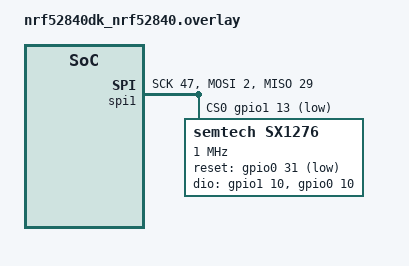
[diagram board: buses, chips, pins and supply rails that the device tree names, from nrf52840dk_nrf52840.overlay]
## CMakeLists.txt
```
cmake_minimum_required(VERSION 3.8.2)

#Board selection inside zephyr
set(BOARD nrf52840dk_nrf52840)
#set(BOARD nrf5340pdk_nrf5340_cpunet)
#set(BOARD nrf5340pdk_nrf5340_cpuapp)
#set(BOARD nrf52840dongle_nrf52840)
#set(BOARD nrf52840dk_nrf52811)
#Board selection outside zephyr
#set(BOARD_ROOT ./board)

#Toolchain selection
set(TOOLCHAIN C:/gnuarmemb)

#Zephyr selection
#set(ZEPHYR_BASE L:/Github/ncs/zephyr)
set(ZEPHYR_BASE L:/Github/ncs-workspace-1.6.1/zephyr)

find_package(Zephyr REQUIRED HINTS $ENV{ZEPHYR_BASE})

project(NONE)

#Include Simple Zephyr Library
add_subdirectory_ifdef(CONFIG_SZL_ENABLE szl)

# Include all files in folder src
FILE(GLOB app_sources_c src/*.c)
FILE(GLOB app_sources_cpp src/*.cpp)

target_sources(app PRIVATE
	${app_sources_c} ${app_sources_cpp})

target_include_directories(app PRIVATE include)

FILE(GLOB dlms_sources_cpp dlms/src/*.cpp)

target_sources(app PRIVATE ${app_sources_cpp} ${dlms_sources_cpp})

target_include_directories(app PRIVATE dlms/..)
```

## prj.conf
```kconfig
#Stdout config
CONFIG_SERIAL=y
CONFIG_STDOUT_CONSOLE=y

#Simple Zephyr Library
CONFIG_SZL_ENABLE=y
CONFIG_SZL_UART_ENABLE=y
CONFIG_SZL_UART_RX_RING_BUF_LEN=1024
CONFIG_SZL_LORA_ENABLE=y
CONFIG_SZL_USB_CDC_ACM_ENABLE=n
CONFIG_UART_CONSOLE=y
CONFIG_SZL_LEB128_ENABLE=y

#For nRF52 Dongle if flashed over USB
CONFIG_BOARD_HAS_NRF5_BOOTLOADER=y
#For nRF52 Dongle if flashed over SWD
#CONFIG_BOARD_HAS_NRF5_BOOTLOADER=n

#For DLMS
CONFIG_HEAP_MEM_POOL_SIZE=8192
CONFIG_MAIN_STACK_SIZE=32768
CONFIG_SYSTEM_WORKQUEUE_STACK_SIZE=4096
CONFIG_PRIVILEGED_STACK_SIZE=8192
CONFIG_NEWLIB_LIBC=y
#CONFIG_NEWLIB_LIBC_MIN_REQUIRED_HEAP_SIZE=8192
CONFIG_CPLUSPLUS=y
CONFIG_LIB_CPLUSPLUS=y
CONFIG_RTTI=y

#For Debug
CONFIG_DEBUG=y
CONFIG_DEBUG_OPTIMIZATIONS=y
CONFIG_TEST=y
CONFIG_ASSERT=y
#CONFIG_THREAD_ANALYZER=y
#CONFIG_THREAD_NAME=y

#FOR GPIO
CONFIG_GPIO=y

CONFIG_PRINTK_SYNC=n
```

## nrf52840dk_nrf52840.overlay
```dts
#include <dt-bindings/gpio/gpio.h>


&spi1 {
     status = "okay";
          sck-pin = <47>; /* 1.15 */
       mosi-pin = <2>;
       miso-pin = <29>;
       cs-gpios = <&gpio1 13 GPIO_ACTIVE_LOW>; /* 1.13 */
  
        lora: sx1276@0 {
         compatible = "semtech,sx1276";
         reg = <0>;
         label = "sx1276";
         reset-gpios = <&gpio0 31 GPIO_ACTIVE_LOW>;
         dio-gpios = <&gpio1 10 (GPIO_PULL_DOWN | GPIO_ACTIVE_HIGH)>,<&gpio0 10 (GPIO_PULL_DOWN | GPIO_ACTIVE_HIGH)>;
         spi-max-frequency = <1000000>;
         power-amplifier-output = "pa-boost";
     };  
  };
  
  / {
     aliases {
        lora0 = &lora;
   };
  };
```

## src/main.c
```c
#include <zephyr.h>

#include <szl_uart.h>
#ifdef SZL_USB_CDC_ACM_ENABLE
#include <szl_usb_cdc_acm.h>
#endif
#include <szl_lora.h>
#include <szl_leb128.h>

#include <stdio.h>
#include <string.h>
#include <sys/util.h>

#include <App_LGe450_Push_Parser.h>


#define UART_DEV_NAME "UART_1"
#define RX_BUF_LEN 1024
static struct szl_uart_context ctx;
static uint8_t rx_buf[RX_BUF_LEN];
struct k_work_delayable parse_push_work;
void *parser;

const struct Smart_Meter_data_t Smart_Meter_data_init;
struct Smart_Meter_data_t Smart_Meter_data;
uint8_t new_data_bitmask[1]; 
uint8_t buffer[255];
uint8_t pos;

/* size of stack area used by each thread */
#define STACKSIZE_UART_RX 1024

/* scheduling priority used by each thread */
#define PRIORITY_UART_RX 7


//Parser DOne Semaphore
struct k_sem parser_done_sem;
K_SEM_DEFINE(parser_done_sem, 0, 1);




/* -------------------------- DLMS Parser Area --------------------------  */

/**@brief Function to parse a push Message. Called by the delayable work item.
 */


void parse_push(struct k_work *work)
{
  static size_t bytes_read;
  //szl_uart_recv(&ctx, rx_buf, RX_BUF_LEN, &bytes_read);
  
  //Convert to Hex String
  static char raw_bin_data[] = {
  126, 160, 132, 206, 255,   3,  19,  18, 
  139, 230, 231,   0, 224,  64,   0,   1, 
    0,   0, 112,  15,   0,   1, 211, 118, 
  12,   7, 229,   6,  28,   1,  15,  27, 
  50, 255, 128,   0,   0,   2,  14,   1, 
  14,   2,   4,  18,   0,  40,   9,   6, 
    0,   8,  25,   9,   0, 255,  15,   2, 
  18,   0,   0,   2,   4,  18,   0,  40, 
    9,   6,   0,   8,  25,   9,   0, 255, 
  15,   1,  18,   0,   0,   2,   4,  18, 
    0,   1,   9,   6,   0,   0,  96,   1, 
    0, 255,  15,   2,  18,   0,   0,   2, 
    4,  18,   0,   3,   9,   6,   1,   0, 
    1,   7,   0, 255,  15,   2,  18,   0, 
    0,   2,   4,  18,   0,   3,   9,   6, 
    1,   0,   2,   7,   0, 255,  15,   2, 
  18,   0,   0, 178,  26, 126, 126, 160, 
  125, 206, 255,   3,  19, 208,  69, 224, 
  64,   0,   2,   0,   0, 108,   2,   4, 
  18,   0,   3,   9,   6,   1,   1,   1, 
    8,   0, 255,  15,   2,  18,   0,   0, 
    2,   4,  18,   0,   3,   9,   6,   1, 
    1,   2,   8,   0, 255,  15,   2,  18, 
    0,   0,   2,   4,  18,   0,   3,   9, 
    6,   1,   1,   5,   8,   0, 255,  15, 
    2,  18,   0,   0,   2,   4,  18,   0, 
    3,   9,   6,   1,   1,   6,   8,   0, 
  255,  15,   2,  18,   0,   0,   2,   4, 
  18,   0,   3,   9,   6,   1,   1,   7, 
    8,   0, 255,  15,   2,  18,   0,   0, 
    2,   4,  18,   0,   3,   9,   6,   1, 
    1,   8,   8,   0, 255,  15,   2,  18, 
    0,   0, 193, 149, 126, 126, 160, 138, 
  206, 255,   3,  19, 170, 234, 224, 192, 
    0,   3,   0,   0, 121,   2,   4,  18, 
    0,   3,   9,   6,   1,   0,  31,   7, 
    0, 255,  15,   2,  18,   0,   0,   2, 
    4,  18,   0,   3,   9,   6,   1,   0, 
  51,   7,   0, 255,  15,   2,  18,   0, 
    0,   2,   4,  18,   0,   3,   9,   6, 
    1,   0,  71,   7,   0, 255,  15,   2, 
  18,   0,   0,   9,   6,   0,   8,  25, 
    9,   0, 255,   9,   8,  53,  54,  53, 
  53,  50,  55,  55,  51,   6,   0,   0, 
    0,  71,   6,   0,   0,   0,   0,   6, 
    0,   3,  67, 242,   6,   0,   0,   0, 
    0,   6,   0,   0,  32, 157,   6,   0, 
    0,   0,   0,   6,   0,   0,   0,   0, 
    6,   0,   1, 160,  34,  18,   0,  36, 
  18,   0,  17,  18,   0,  16,  50,  22, 
  126
  };
  
  static char rx_hex_str[RX_BUF_LEN];
  bin2hex(raw_bin_data,sizeof(raw_bin_data),rx_hex_str,sizeof(rx_hex_str));
  //bin2hex(rx_buf,bytes_read,rx_hex_str,sizeof(rx_hex_str));
  //static char * rx_hex_str = rx_buf;
  //Split into frames
  static char delim[] = "7e";
  static char * frame_start;
  frame_start = strstr(rx_hex_str,delim);
  while (frame_start != NULL)
  {
    //Get Frame Size
    static int frame_size;
    hex2bin(frame_start+sizeof(delim)-1,4,(uint8_t*)&frame_size,sizeof(frame_size));
    frame_size = (frame_size<<8) | (frame_size>>8); //Reverse the byte order
    frame_size = frame_size & 0x0FFF; //Get rid of Type
    frame_size = frame_size + 2; //Append Tag fields size
    frame_size = frame_size * 2; //Addjust for Hex-String
    //Parse the Frame
    printf("Frame:\n%.*s\n", (int)frame_size, frame_start);
    App_LGe450_Push_Parser_parse(parser, frame_start, (unsigned long)frame_size);
    //Get next Frame
    frame_start = strstr(frame_start+(size_t)frame_size,delim);
  }
}

// ------------- UART RX Thread -----------------------

void uart_rx_thread(void)
{
    while (1) {
      // Wait for the Receive semaphore 
      //k_sem_take(&ctx.rx_sem, K_FOREVER); //Testmode
      k_work_reschedule(&parse_push_work, K_MSEC(500));        
      break; //Testmode
    }
}

/* ------------------- Encode and Send ---------------------- */
void encode_send() {
    //Encode Message 
    pos = 0;
    printk("Bitmask: %u\n",new_data_bitmask[0]); 
    pos += szl_encode_uleb128(new_data_bitmask[0],&buffer[pos]);
    if (new_data_bitmask[0] & (1 << 0))
    {
      pos += szl_encode_uleb128(Smart_Meter_data.Strom_L1,&buffer[pos]);
    }
    if (new_data_bitmask[0] & (1 << 1))
    {
      pos += szl_encode_uleb128(Smart_Meter_data.Strom_L2,&buffer[pos]);
    }
    if (new_data_bitmask[0] & (1 << 2))
    {
      pos += szl_encode_uleb128(Smart_Meter_data.Strom_L3,&buffer[pos]);
    }
    if (new_data_bitmask[0] & (1 << 3))
    {
      pos += szl_encode_uleb128(Smart_Meter_data.Wirkleistungsbezug,&buffer[pos]);
    }
    if (new_data_bitmask[0] & (1 << 4))
    {
      pos += szl_encode_uleb128(Smart_Meter_data.Wirkenergiebezug_Tarif_1,&buffer[pos]);
    }
    if (new_data_bitmask[0] & (1 << 5))
    {
      pos += szl_encode_uleb128(Smart_Meter_data.Wirkenergiebezug_Tarif_2,&buffer[pos]);
    } 
    printk("Message Encoded Size: %u\n",pos);   
    //Send LoRa 
    k_sleep(K_MSEC(1000));
    szl_lora_send((uint8_t *)"&buffer[0]", sizeof("&buffer[0]")-1);  
    //szl_lora_send(&buffer[0], (uint32_t) pos+1);
    k_sleep(K_MSEC(1000));
    printk("Buffer Debug[0]: %u\n",buffer[0]); 
    printk("Buffer Debug[1]: %u\n",buffer[1]);
    printk("Buffer Debug[2]: %u\n",buffer[2]);
}




/* -------------------------- Main Area --------------------------  */

/**@brief Function for application main entry.
 */
void main(void)
{
  #ifdef SZL_USB_CDC_ACM_ENABLE
  //Init USB CDC ACM
  szl_init_usb_cdc_acm();
  #endif

  // Start Application
  printk("Starting Application...\n");      

  //Init the Worker
  k_work_init_delayable(&parse_push_work, parse_push);
  
  //Init the Parser
  parser = App_LGe450_Push_Parser_create();

  //Init the UART
  static int ret;
  ret = szl_uart_register(&ctx, UART_DEV_NAME);

  //Init LoRa
  szl_lora_init();

  k_sleep(K_MSEC(1000));

  //szl_lora_send((uint8_t *)"&buffer[0]", sizeof("&buffer[0]")-1);  

  //k_sleep(K_MSEC(10000));

  //encode_send();

  
  
  while (1)
  {
     //Wait for Parser to be done parseing
     k_sem_take(&parser_done_sem, K_FOREVER); 
     //Encode and Send Message
     encode_send();
  }

  
  
}


K_THREAD_DEFINE(uart_rx_thread_id, STACKSIZE_UART_RX, uart_rx_thread, NULL, NULL, NULL,
		PRIORITY_UART_RX, 0, 1000);
```

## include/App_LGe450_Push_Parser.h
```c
//https://stackoverflow.com/questions/43537587/c-function-calling-c-member-function-where-the-c-code-is-compiled-with-a-c-c

#ifndef APP_LGe450_PUSH_PARSER_H_
#define APP_LGe450_PUSH_PARSER_H_

#ifdef __cplusplus
extern "C" {
#endif

//Data structure
struct Smart_Meter_data_t {
    uint16_t Strom_L1;
    uint16_t Strom_L2;
    uint16_t Strom_L3;
    uint32_t Wirkleistungsbezug;
    uint32_t Wirkenergiebezug_Tarif_1;
    uint32_t Wirkenergiebezug_Tarif_2;
};

//Number of struct elements for new_data_bitmask = n_data / 8 -> round up to byte
extern uint8_t new_data_bitmask[1];  

//Data
extern const struct Smart_Meter_data_t Smart_Meter_data_init;
extern struct Smart_Meter_data_t Smart_Meter_data;

//Parser DOne Semaphore
extern struct k_sem parser_done_sem;

void* App_LGe450_Push_Parser_create();
void App_LGe450_Push_Parser_release(void* app_LGe450_Push_Parser);
void App_LGe450_Push_Parser_parse(void* app_LGe450_Push_Parser, const void* pSource, unsigned long count);

#if defined(__cplusplus)
}
#endif

#endif //APP_LGe450_PUSH_PARSER_H_
```

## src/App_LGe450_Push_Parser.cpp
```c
#include <zephyr.h>
#include <stdio.h>
#include <string.h>
#include "../dlms/include/GXDLMSNotify.h"
#include "../dlms/include/GXDLMSData.h"
#include "../dlms/include/GXDLMSClient.h"

#include <App_LGe450_Push_Parser.h>


class App_LGe450_Push_Parser {       
    public:
        App_LGe450_Push_Parser() : cl(true, -1, -1, DLMS_AUTHENTICATION_NONE, NULL, DLMS_INTERFACE_TYPE_HDLC){
            bb.Capacity(2048);
            bb.Clear();
        }
        void parse(const void* pSource, unsigned long count);
    private:
        int ret; 
        // Buffer
        CGXByteBuffer bb;
        // Client used to parse received data.
        CGXDLMSClient cl;
        /**
        * Received data. This is used if GBT is used and data is received on
        * several data blocks.
        */
        CGXReplyData data;
        CGXReplyData notify;
};

// Method/function definition outside the class
void App_LGe450_Push_Parser::parse(const void* pSource, unsigned long count) {

    //Make String out of It
    static char HexString[1024];
    memcpy(HexString,pSource,(size_t)count);
    HexString[(size_t)count] = (char)0x0;
    bb.SetHexString(HexString);
    bb.SetPosition(0);
    
    /** Parse HDLC Frame */
    if ((ret = cl.GetData(bb, data, notify)) != 0 && ret != DLMS_ERROR_CODE_FALSE)
    {
        printk("Error cl.GetData: %u\n", ret);
    }
    /** Is More Data available */
    printk("Packet Complete: %u\n", notify.IsComplete());
    printk("More Data: %u\n", notify.IsMoreData());
    bb.Clear();
    //All Data Received
    if((notify.IsMoreData() == 0) && (notify.IsComplete() == 1)){
        //Example is sending list of push messages in first parameter.
        if (notify.GetValue().vt == DLMS_DATA_TYPE_STRUCTURE)
        {
            std::vector<std::pair<CGXDLMSObject *, unsigned char>> objects;
            ret = cl.ParsePushObjects(notify.GetValue().Arr[0].Arr, objects);
            //Remove first item because it's not needed anymore.
            objects.erase(objects.begin());
            //Update clock.
            int Valueindex = 1;
            std::vector<std::string> values;
            // Init new Meassages
            Smart_Meter_data = Smart_Meter_data_init;
            for (std::vector<std::pair<CGXDLMSObject *, unsigned char>>::iterator it = objects.begin(); it != objects.end(); ++it)
            {
                values.clear();
                cl.UpdateValue(*it->first, it->second, notify.GetValue().Arr[Valueindex]);
                ++Valueindex;
                //Print value
                std::string ln;
                it->first->GetLogicalName(ln);
                it->first->GetValues(values);
                printf("%s %s %d: %s\r\n", CGXDLMSConverter::ToString(it->first->GetObjectType()), ln.c_str(), it->second, values.at(it->second - 1).c_str());
                //Fill in the Data
                if (strcmp("1.0.31.7.0.255",ln.c_str()) == 0) {
                    Smart_Meter_data.Strom_L1 = (uint16_t)atoi(values.at(it->second - 1).c_str());
                    new_data_bitmask[0] |= 1 << 0;
                } else if (strcmp("1.0.51.7.0.255",ln.c_str()) == 0) {
                    Smart_Meter_data.Strom_L2 = (uint16_t)atoi(values.at(it->second - 1).c_str());
                    new_data_bitmask[0] |= 1 << 1;
                } else if (strcmp("1.0.71.7.0.255",ln.c_str()) == 0) {
                    Smart_Meter_data.Strom_L3 = (uint16_t)atoi(values.at(it->second - 1).c_str());
                    new_data_bitmask[0] |= 1 << 2;
                } else if (strcmp("1.0.1.7.0.255",ln.c_str()) == 0) {
                    Smart_Meter_data.Wirkleistungsbezug = (uint32_t)atoi(values.at(it->second - 1).c_str());
                    new_data_bitmask[0] |= 1 << 3;
                } else if (strcmp("1.1.1.8.1.255",ln.c_str()) == 0) {
                    Smart_Meter_data.Wirkenergiebezug_Tarif_1 = (uint32_t)atoi(values.at(it->second - 1).c_str());
                    new_data_bitmask[0] |= 1 << 4;
                } else if (strcmp("1.1.1.8.2.255",ln.c_str()) == 0) {
                    Smart_Meter_data.Wirkenergiebezug_Tarif_2 = (uint32_t)atoi(values.at(it->second - 1).c_str());
                    new_data_bitmask[0] |= 1 << 5;
                } 
           }
           //Encode and Send Data
           k_sem_give(&parser_done_sem);
        }
        printf("Server address: %d Client Address: %d\r\n", notify.GetServerAddress(), notify.GetClientAddress());
        notify.Clear();
        data.Clear();
        bb.Trim();
    }    
}

/*extern "C"*/ void* App_LGe450_Push_Parser_create(){
    static App_LGe450_Push_Parser app_LGe450_Push_Parser;
    return &app_LGe450_Push_Parser;
}
/*extern "C"*/ void App_LGe450_Push_Parser_release(void* app_LGe450_Push_Parser){
    delete static_cast<App_LGe450_Push_Parser*>(app_LGe450_Push_Parser);
}
/*extern "C"*/ void App_LGe450_Push_Parser_parse(void* app_LGe450_Push_Parser, const void* pSource, unsigned long count){
    static_cast<App_LGe450_Push_Parser*>(app_LGe450_Push_Parser)->parse(pSource, count);
}
```
